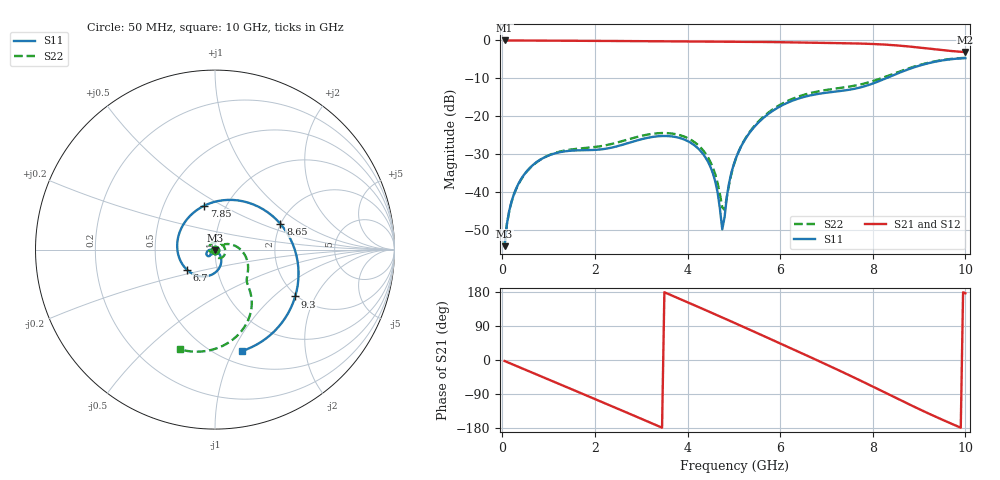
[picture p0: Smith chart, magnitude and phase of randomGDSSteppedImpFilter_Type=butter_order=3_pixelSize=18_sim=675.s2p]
! freq	dB(S11)	phase(S11)	dB(S12)	phase(S12)
!  dB(S21)	phase(S21)	dB(S22)	phase(S22)
!S-par simulation data
#  GHz  S  DB  R 50
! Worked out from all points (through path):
!   200 points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, 50 MHz to 10 GHz, reference 50 ohm
!   highest |S21| = -0.01 dB at 50 MHz (marker M1); lowest = -3.1 dB at 10 GHz (marker M2)
!   group delay of S21, straight-line fit = 152 ps
!   lowest |S11| = -54.1 dB at 50 MHz (marker M3), VSWR 1.00, Z = 50.1 - j0.187 ohm
!   |S11| at or under -10 dB: start of sweep to 8.279 GHz
!   |S22| runs from -53.6 to -4.6 dB; largest |S21 - S12| = 0
!   S11 on the Smith chart (normalised r, x): 50 MHz: 1.00, -0.00; 6.7 GHz: 0.72, -0.17; 7.85 GHz: 0.79, +0.42; 8.65 GHz: 2.00, +0.67; 9.3 GHz: 1.96, -1.40; 10 GHz: 0.63, -1.08
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0.05  -54.12 -72.0  -0.01 -2.6  -0.01 -2.6  -53.59 -75.8
0.2  -42.37 -92.5  -0.02 -10.3  -0.02 -10.3  -42.47 -99.2
0.5  -34.84 -106.5  -0.03 -25.8  -0.03 -25.8  -34.94 -123.6
1.15  -29.67 -127.6  -0.07 -59.2  -0.07 -59.2  -29.55 -174.4
1.75  -28.88 -135.9  -0.11 -90.1  -0.11 -90.1  -28.35 130.8
2.5  -27.78 -130.4  -0.16 -129.0  -0.16 -129.0  -26.80 51.3
3.4  -25.18 -142.0  -0.23 -176.0  -0.23 -176.0  -24.39 -26.3
4.35  -30.12 -176.4  -0.29 133.8  -0.29 133.8  -29.12 -82.9
4.6  -37.15 178.6  -0.31 120.3  -0.31 120.3  -35.30 -87.4
4.75  -49.69 -126.4  -0.31 112.2  -0.31 112.2  -43.91 -52.3
4.8  -46.46 -64.1  -0.32 109.5  -0.32 109.5  -44.59 -10.3
4.9  -37.35 -41.6  -0.32 104.1  -0.32 104.1  -37.71 32.0
5.05  -30.82 -42.8  -0.33 96.0  -0.33 96.0  -30.91 38.0
5.65  -20.26 -72.9  -0.41 63.0  -0.41 63.0  -19.95 15.6
6.2  -16.17 -107.3  -0.51 32.6  -0.51 32.6  -15.71 -8.2
6.7  -14.34 -143.5  -0.61 4.8  -0.61 4.8  -13.71 -26.6
7.25  -13.39 168.0  -0.71 -26.2  -0.71 -26.2  -12.59 -40.6
7.85  -11.96 103.5  -0.87 -61.1  -0.87 -61.1  -11.24 -47.6
8.35  -9.63 49.8  -1.17 -91.0  -1.17 -91.0  -9.22 -53.8
8.65  -8.14 21.4  -1.45 -109.0  -1.45 -109.0  -7.88 -60.6
9.3  -5.72 -30.3  -2.29 -146.5  -2.29 -146.5  -5.61 -81.8
10  -4.66 -75.1  -3.07 176.1  -3.07 176.1  -4.60 -109.2
